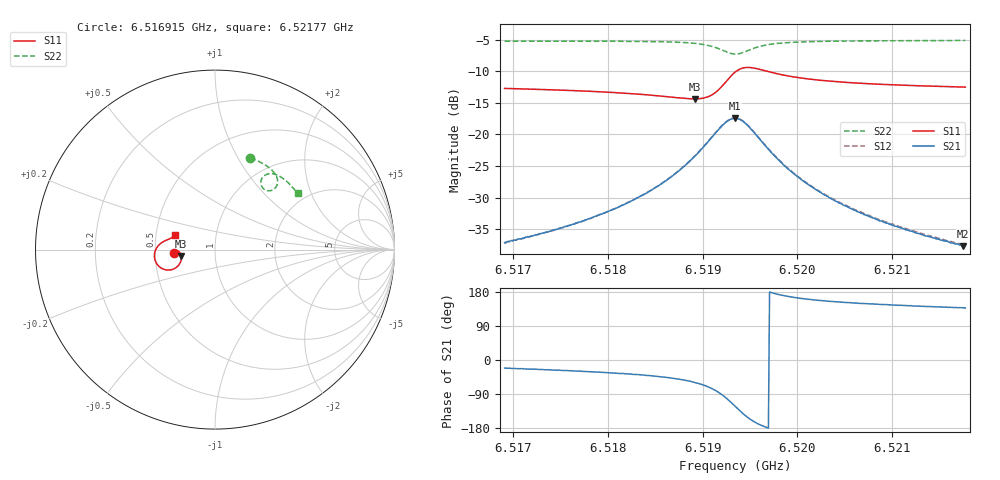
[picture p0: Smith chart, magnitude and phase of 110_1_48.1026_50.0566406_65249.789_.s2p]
#  HZ  S  RI  R  50.00
! Rohde & Schwarz Vector Network Analyzer
! Rohde-Schwarz,ZNB20-2Port,1311601062101988,3.16
! Created: UTC 12/23/2023, 3:45:39 AM
! freq[Hz]  re:S11  im:S11  re:S21  im:S21  re:S12  im:S12  re:S22  im:S22
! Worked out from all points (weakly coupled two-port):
!   401 points, 6.516915 GHz to 6.52177 GHz, reference 50 ohm
!   highest |S21| = -17.43 dB at 6.519342 GHz (marker M1); lowest = -37.7 dB at 6.521745 GHz (marker M2)
!   lowest |S11| = -14.4 dB at 6.518917 GHz (marker M3), VSWR 1.47, Z = 34.1 - j2.49 ohm
!   |S11| at or under -10 dB: start of sweep to 6.519354 GHz; 6.519684 GHz to end of sweep
!   |S22| runs from -7.3 to -5.1 dB; largest |S21 - S12| = 0.0042
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6.5169149e9  -0.2311 -0.0187  0.0129 -0.00506  0.0129 -0.00461  0.1973 0.5114
6.5173761e9  -0.2261 -0.012  0.0153 -0.00732  0.0156 -0.007  0.2315 0.4974
6.5177281e9  -0.2212 -0.00785  0.0178 -0.0102  0.018 -0.00958  0.2575 0.4844
6.5181407e9  -0.2133 -0.00535  0.0221 -0.0159  0.0226 -0.015  0.2884 0.4656
6.5185412e9  -0.202 -0.00975  0.0285 -0.0272  0.0294 -0.0265  0.3193 0.4404
6.5187476e9  -0.1942 -0.0187  0.0327 -0.0394  0.034 -0.0386  0.3354 0.4212
6.5189175e9  -0.1882 -0.0352  0.0345 -0.0575  0.0364 -0.0569  0.3462 0.3981
6.5190267e9  -0.1881 -0.0543  0.0314 -0.076  0.0338 -0.0755  0.349 0.3772
6.5191117e9  -0.1949 -0.0752  0.0219 -0.0951  0.0251 -0.0951  0.3445 0.3571
6.5192452e9  -0.2363 -0.1103  -0.0205 -0.1231  -0.017 -0.1245  0.3129 0.3291
6.5193423e9  -0.2926 -0.1067  -0.0709 -0.1142  -0.0679 -0.1171  0.2741 0.3361
6.5194029e9  -0.3216 -0.0829  -0.0942 -0.0902  -0.0922 -0.0937  0.2585 0.3561
6.5194636e9  -0.3358 -0.0518  -0.1034 -0.0617  -0.1023 -0.0652  0.2557 0.3794
6.5195607e9  -0.3337 -0.00893  -0.0968 -0.0254  -0.0968 -0.0284  0.2695 0.407
6.5196699e9  -0.3177 0.0198  -0.0799 -0.00346  -0.0805 -0.00577  0.2921 0.4204
6.5198884e9  -0.289 0.0437  -0.0532 0.0109  -0.0542 0.00961  0.3292 0.4211
6.5201554e9  -0.2679 0.0539  -0.0358 0.0136  -0.0365 0.0127  0.3594 0.4091
6.5204952e9  -0.2522 0.0606  -0.0241 0.0128  -0.0249 0.0123  0.3875 0.3901
6.5209686e9  -0.2388 0.0676  -0.016 0.011  -0.0166 0.0107  0.4181 0.3622
6.5213326e9  -0.2314 0.0727  -0.0124 0.00979  -0.0131 0.00969  0.4381 0.3404
6.5217453e9  -0.2244 0.0782  -0.00964 0.00876  -0.0101 0.00878  0.4584 0.3146
6.5217696e9  -0.2239 0.0786  -0.00973 0.00887  -0.0101 0.00868  0.4597 0.3132
